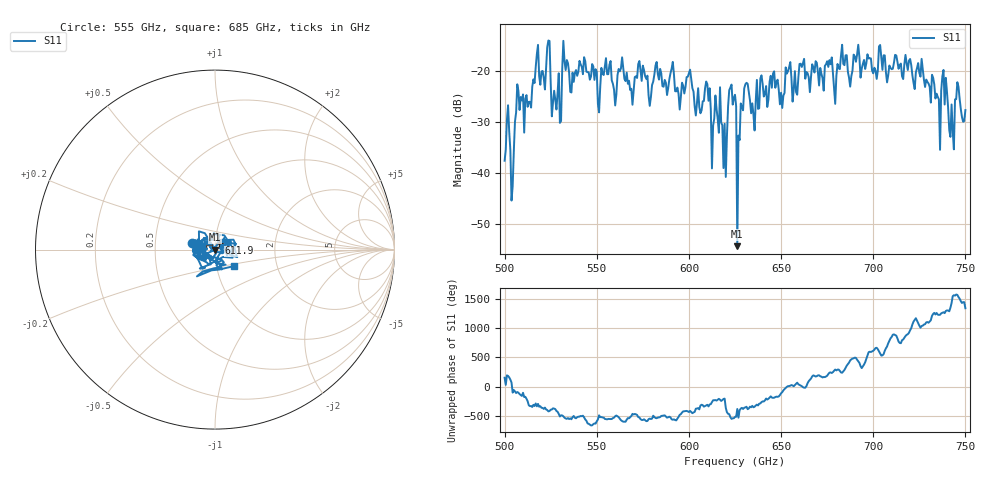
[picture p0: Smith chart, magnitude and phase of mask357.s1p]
!Created with skrf (http://scikit-rf.org).
# GHz S MA R 50.0
!freq magS11 angS11
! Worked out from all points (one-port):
!   401 points, 500 GHz to 750 GHz, reference 50 ohm
!   lowest |S11| = -54.4 dB at 626.2 GHz (marker M1), VSWR 1.00, Z = 50.2 - j0.0715 ohm
!   |S11| at or under -10 dB: start of sweep to end of sweep
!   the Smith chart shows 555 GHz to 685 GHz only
!   S11 on the Smith chart (normalised r, x): 555 GHz: 0.77, +0.05; 611.9 GHz: 1.04, +0.07; 685 GHz: 1.22, -0.23
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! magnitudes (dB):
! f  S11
! 500 GHz  -37.6
! 504.4 GHz  -42.6
! 507.5 GHz  -24.0
! 513.8 GHz  -26.1
! 516.9 GHz  -19.3
! 523.8 GHz  -14.0
! 526.9 GHz  -23.9
! 531.2 GHz  -19.7
! 555 GHz  -17.5
! 562.5 GHz  -20.1
! 593.8 GHz  -23.3
! 600 GHz  -20.5
! 611.9 GHz  -27.6
! 619.4 GHz  -30.4
! 623.1 GHz  -22.7
! 625 GHz  -24.7
! 626.2 GHz  -54.4
! 631.2 GHz  -22.3
! 635 GHz  -28.5
! 656.2 GHz  -26.0
! 685 GHz  -17.0
! 687.5 GHz  -23.1
! 718.8 GHz  -19.8
! 735 GHz  -25.1
! 738.8 GHz  -26.6
! 742.5 GHz  -26.6
! 745.6 GHz  -22.2
! 750 GHz  -27.7
